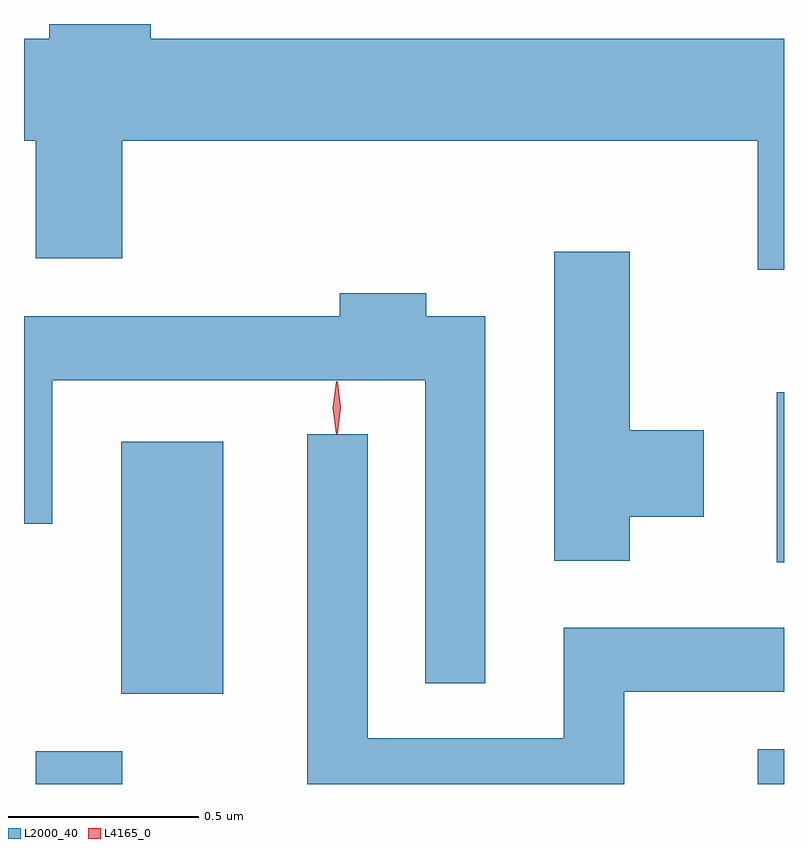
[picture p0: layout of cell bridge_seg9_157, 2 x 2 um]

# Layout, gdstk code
import gdstk
lib = gdstk.Library(unit=1e-6, precision=1e-09)
def R(c, l, rs):  # rectangles x0, y0, x1, y1
    for r in rs: c.add(gdstk.rectangle(r[:2], r[2:], *l))
def P(c, l, *ps):  # polygons
    for p in ps: c.add(gdstk.Polygon(p, *l))
L2000_40 = (2000, 40)
L4165_0 = (4165, 0)

bridge_seg9_157 = lib.new_cell('bridge_seg9_157')
R(bridge_seg9_157, L2000_40, [(1413.841,2056.723,1414.069,2056.809), (1415.741,2056.723,1415.81,2056.814), (1414.066,2056.961,1414.334,2057.624), (1415.791,2057.306,1415.81,2057.754)])
P(bridge_seg9_157, L2000_40, [(1415.81,2058.684),(1414.144,2058.684),(1414.144,2058.723),(1413.876,2058.723),(1413.876,2058.684),(1413.81,2058.684),(1413.81,2058.416),(1413.841,2058.416),(1413.841,2058.106),(1414.069,2058.106),(1414.069,2058.416),(1415.741,2058.416),(1415.741,2058.076),(1415.81,2058.076)],
  [(1415.404,2057.426),(1415.599,2057.426),(1415.599,2057.654),(1415.404,2057.654),(1415.404,2058.124),(1415.206,2058.124),(1415.206,2057.311),(1415.404,2057.311)],
  [(1415.024,2057.954),(1414.869,2057.954),(1414.869,2058.014),(1414.641,2058.014),(1414.641,2057.954),(1413.81,2057.954),(1413.81,2057.408),(1413.884,2057.408),(1413.884,2057.786),(1414.866,2057.786),(1414.866,2056.988),(1415.024,2056.988)],
  [(1415.389,2056.966),(1415.81,2056.966),(1415.81,2057.134),(1415.231,2057.134),(1415.231,2056.844),(1414.714,2056.844),(1414.714,2057.643),(1414.556,2057.643),(1414.556,2056.723),(1415.389,2056.723)])
P(bridge_seg9_157, L4165_0, [(1414.632,2057.644),(1414.623,2057.713),(1414.632,2057.782),(1414.633,2057.783),(1414.634,2057.782),(1414.643,2057.713),(1414.634,2057.644),(1414.633,2057.644)],
  [(1414.634,2057.647),(1414.634,2057.647),(1414.624,2057.714),(1414.634,2057.78),(1414.634,2057.78),(1414.635,2057.78),(1414.644,2057.714),(1414.635,2057.647)])

lib.write_gds('bridge_seg9_157.gds')
